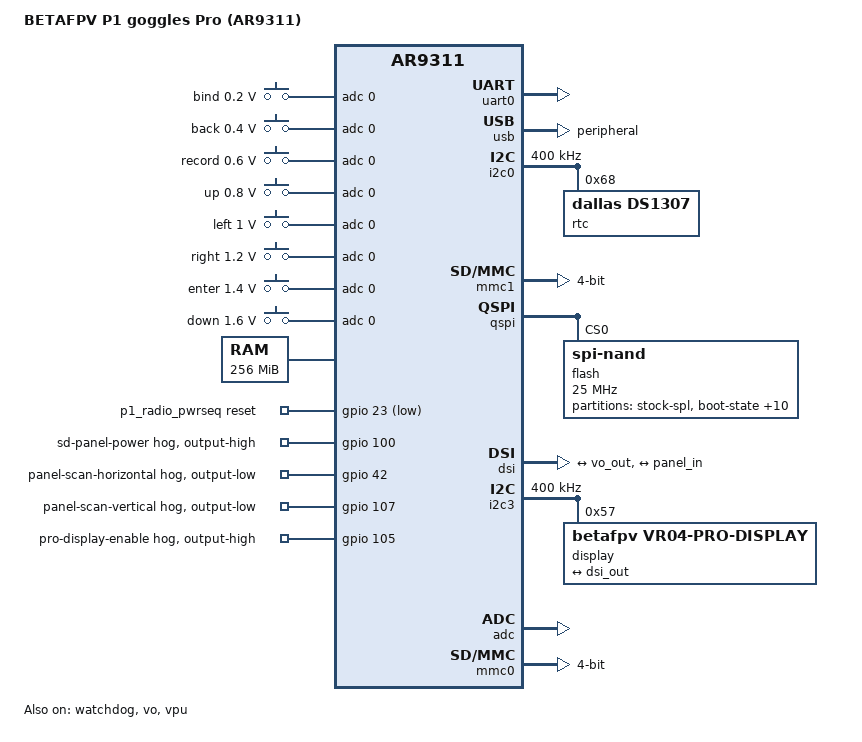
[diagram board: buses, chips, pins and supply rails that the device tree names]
// SPDX-License-Identifier: GPL-2.0-or-later
/* BETAFPV VR04 HD Pro goggles (stock board "haming_gnd_pro", hardware V2.1):
 * the P1 goggles' wiring with another display. Stock reaches the panel
 * through a GM8773C bridge it programs over I2C (0x57; bus 3 by the stock
 * display library's attributes) and raises GPIO105 for this board alone.
 * The USB-C DisplayPort output (an LT9711 on I2C0) is not driven.
 * From the stock 2.1.4 firmware alone: not run on a unit.
 */
/dts-v1/;
#include "ar9311.dtsi"
#include <dt-bindings/input/input.h>

/ {
	model = "BETAFPV P1 goggles Pro (AR9311)";
	compatible = "betafpv,p1-goggle-pro", "artosyn,proxima-9311";

	reboot-scratch@a106138 {
		compatible = "syscon", "simple-mfd";
		reg = <0 0x0a106138 0 4>;
		reboot-mode {
			compatible = "syscon-reboot-mode";
			offset = <0>;
			mode-normal = <2>;
			mode-bootloader = <3>;
		};
	};
	p1-goggle-keys {
		compatible = "adc-keys";
		io-channels = <&adc 0>;
		io-channel-names = "buttons";
		poll-interval = <10>;
		keyup-threshold-microvolt = <0>;
		button-bind { label = "bind"; linux,code = <KEY_CONNECT>; press-threshold-microvolt = <200000>; };
		button-back { label = "back"; linux,code = <KEY_BACK>; press-threshold-microvolt = <400000>; };
		button-record { label = "record"; linux,code = <KEY_RECORD>; press-threshold-microvolt = <600000>; };
		button-up { label = "up"; linux,code = <KEY_UP>; press-threshold-microvolt = <800000>; };
		button-left { label = "left"; linux,code = <KEY_LEFT>; press-threshold-microvolt = <1000000>; };
		button-right { label = "right"; linux,code = <KEY_RIGHT>; press-threshold-microvolt = <1200000>; };
		button-enter { label = "enter"; linux,code = <KEY_ENTER>; press-threshold-microvolt = <1400000>; };
		button-down { label = "down"; linux,code = <KEY_DOWN>; press-threshold-microvolt = <1600000>; };
	};

	aliases { serial0 = &uart0; };
	chosen {
		stdout-path = "serial0:1152000n8";
		bootargs = "console=ttyS0,1152000 earlycon loglevel=7 mem=148M rdinit=/init";
	};

	/* Stock has 256 MiB DRAM: 148 MiB Linux and 108 MiB media. */
	memory@20000000 {
		device_type = "memory";
		reg = <0 0x20000000 0 0x10000000>;
	};
	reserved-memory {
		#address-cells = <2>;
		#size-cells = <2>;
		ranges;
		codec_memory: media@29400000 {
			compatible = "shared-dma-pool";
			reg = <0 0x29400000 0 0x06b00000>;
			no-map;
		};
		loader@2ff00000 {
			reg = <0 0x2ff00000 0 0x00100000>;
			no-map;
		};
	};
};

/* The stock SPL uses the same secondary CPU handshake as P1 Air.
 * A diagnostic Linux-to-Linux loader may instead park CPU1 and use maxcpus=1.
 */
&cpu0 { enable-method = "ar-spin-table"; };
&cpu1 {
	enable-method = "ar-spin-table";
	cpu-release-addr = <0 0x00100000>;
};
&uart0 { status = "okay"; };
&usb {
	status = "okay";
	dr_mode = "peripheral";
};
&watchdog { status = "okay"; };

/* The battery-backed clock, a DS1307 at 0x68 on I2C0 as every stock P1
 * ground tree has it: the kernel sets the system clock from it at boot, and
 * the updater's SET_TIME writes it (in UTC). The Pro's LT9711 (DisplayPort out)
 * sits on this bus too and is left alone.
 */
&i2c0 {
	status = "okay";
	clock-frequency = <400000>;
	i2c-sda-hold-time-ns = <300>;
	i2c-sda-falling-time-ns = <300>;
	i2c-scl-falling-time-ns = <300>;

	rtc@68 {
		compatible = "dallas,ds1307";
		reg = <0x68>;
	};
};

&gpio {
	status = "okay";
	/* GPIO100 is the shared panel/SD I/O rail. Do not cycle it when
	 * probing or removing the SD card. Stock keeps it at 3.3 V.
	 */
	sd-panel-power-hog {
		gpio-hog;
		gpios = <100 GPIO_ACTIVE_HIGH>;
		output-high;
		line-name = "sd-panel-power";
	};
};
&mmc_clocks {
	status = "okay";
	artosyn,clock-config = <0x87 2>, <0x80 0>;
};
&mmc1 {
	status = "okay";
	clock-frequency = <100000000>;
	max-frequency = <50000000>;
	card-detect-delay = <200>;
	bus-width = <4>;
	cap-sd-highspeed;
	disable-wp;
	no-1-8-v;
	no-mmc;
	no-sdio;
};

&qspi_clock { status = "okay"; };
&qspi {
	status = "okay";
	clocks = <&qspi_clock>;
	flash@0 {
		compatible = "spi-nand";
		reg = <0>;
		spi-max-frequency = <25000000>;
		partitions {
			compatible = "fixed-partitions";
			#address-cells = <1>;
			#size-cells = <1>;
			partition@0 { label = "stock-spl"; reg = <0 0x100000>; read-only; };
			partition@100000 { label = "boot-state"; reg = <0x100000 0x80000>; };
			partition@180000 { label = "stock-vendor"; reg = <0x180000 0x80000>; read-only; };
			partition@200000 { label = "factory"; reg = <0x200000 0x600000>; read-only; };
			partition@800000 { label = "stock-bootloaders"; reg = <0x800000 0x240000>; read-only; };
			/* Both banks, under the stock names: an install picks the bank
			 * (fpvos-update: the one holding fpvOS, else the one not booted)
			 * and its checks, not the DT, keep the stock bank unwritten. */
			partition@a40000 { label = "kernel0"; reg = <0xa40000 0x600000>; };
			partition@1040000 { label = "kernel1"; reg = <0x1040000 0x600000>; };
			partition@1640000 { label = "dtb0"; reg = <0x1640000 0x60000>; };
			partition@16a0000 { label = "dtb1"; reg = <0x16a0000 0x60000>; };
			partition@1700000 { label = "userapp0"; reg = <0x1700000 0x2d00000>; };
			partition@4400000 { label = "userapp1"; reg = <0x4400000 0x2d00000>; };
			partition@7100000 { label = "usr_data"; reg = <0x7100000 0x600000>; };
		};
	};
};

/* Stock drives GPIO42 and GPIO107 low on every ground unit (the P1 goggles'
 * scan straps), and GPIO105 high on this board only: taken as the display
 * chain's enable.
 */
&gpio {
	panel-scan-horizontal {
		gpio-hog;
		gpios = <42 GPIO_ACTIVE_HIGH>;
		output-low;
		line-name = "panel-scan-horizontal";
	};
	panel-scan-vertical {
		gpio-hog;
		gpios = <107 GPIO_ACTIVE_HIGH>;
		output-low;
		line-name = "panel-scan-vertical";
	};
	pro-display-enable {
		gpio-hog;
		gpios = <105 GPIO_ACTIVE_HIGH>;
		output-high;
		line-name = "pro-display-enable";
	};
};

&vo {
	status = "okay";
	artosyn,display-profile = "p1-goggle-pro-1080p";
	port {
		vo_out: endpoint { remote-endpoint = <&dsi_in>; };
	};
};
&dsi {
	status = "okay";
	artosyn,display-profile = "p1-goggle-pro-1080p";
	#address-cells = <1>;
	#size-cells = <0>;
	ports {
		#address-cells = <1>;
		#size-cells = <0>;
		port@0 {
			reg = <0>;
			dsi_in: endpoint { remote-endpoint = <&vo_out>; };
		};
		port@1 {
			reg = <1>;
			dsi_out: endpoint { remote-endpoint = <&panel_in>; };
		};
	};
};

/* The bridge and the panel behind it: no reset line, no backlight and no
 * brightness control in stock's library.
 */
&i2c3 {
	status = "okay";
	clock-frequency = <400000>;
	i2c-sda-hold-time-ns = <300>;
	i2c-sda-falling-time-ns = <300>;
	i2c-scl-falling-time-ns = <300>;

	display@57 {
		compatible = "betafpv,vr04-pro-display";
		reg = <0x57>;
		port {
			panel_in: endpoint { remote-endpoint = <&dsi_out>; };
		};
	};
};

&vpu {
	status = "okay";
	memory-region = <&codec_memory>;
	firmware-name = "artosyn/p1-goggle-chagall.bin";
};

&adc { status = "okay"; };

/* Stock start_ar813x.sh resets the radio on GPIO23. */
/ {
	p1_radio_pwrseq: radio-pwrseq {
		compatible = "artosyn,ar8030-pwrseq";
		reset-gpios = <&gpio 23 GPIO_ACTIVE_LOW>;
	};
};
&mmc0 {
	status = "okay";
	clock-frequency = <100000000>;
	max-frequency = <50000000>;
	bus-width = <4>;
	cap-sd-highspeed;
	cap-sdio-irq;
	broken-cd;
	no-mmc;
	no-sd;
	no-1-8-v;
	mmc-pwrseq = <&p1_radio_pwrseq>;
};

&watchdog { status = "okay"; };
